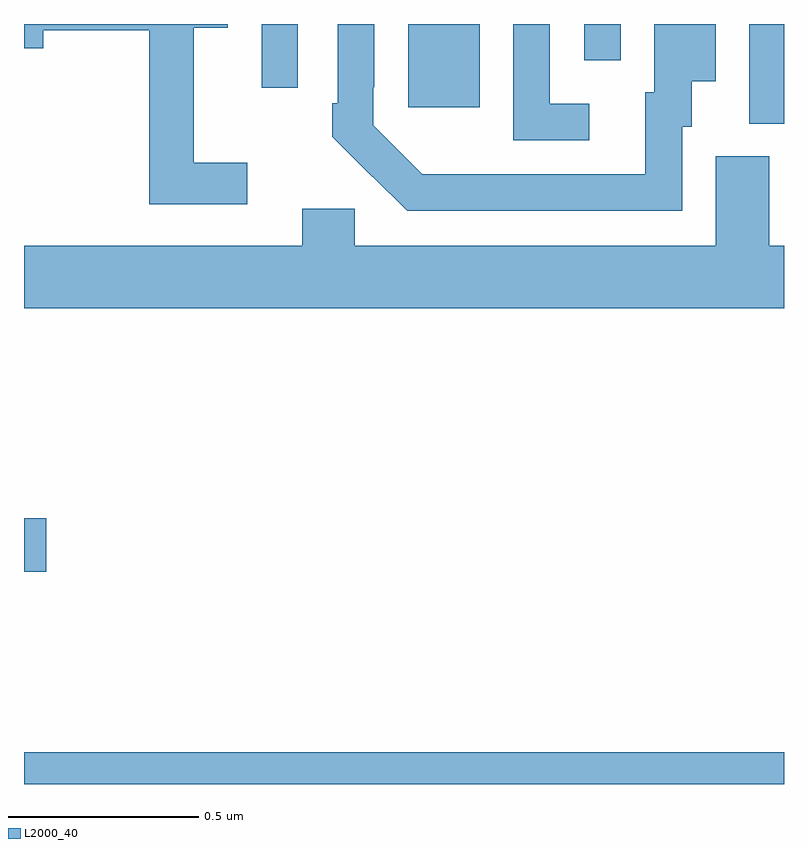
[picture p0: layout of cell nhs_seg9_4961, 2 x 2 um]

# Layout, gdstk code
import gdstk
lib = gdstk.Library(unit=1e-6, precision=1e-09)
def R(c, l, rs):  # rectangles x0, y0, x1, y1
    for r in rs: c.add(gdstk.rectangle(r[:2], r[2:], *l))
def P(c, l, *ps):  # polygons
    for p in ps: c.add(gdstk.Polygon(p, *l))
L2000_40 = (2000, 40)

nhs_seg9_4961 = lib.new_cell('nhs_seg9_4961')
R(nhs_seg9_4961, L2000_40, [(173,1196.5,175,1196.584), (173,1197.058,173.059,1197.2), (174.908,1198.237,175,1198.5), (174.011,1198.281,174.199,1198.5), (173.625,1198.332,173.721,1198.5), (174.474,1198.404,174.57,1198.5)])
P(nhs_seg9_4961, L2000_40, [(174.487,1198.29),(174.384,1198.29),(174.384,1198.5),(174.288,1198.5),(174.288,1198.194),(174.487,1198.194)],
  [(174.732,1198.23),(174.757,1198.23),(174.757,1198.349),(174.82,1198.349),(174.82,1198.5),(174.659,1198.5),(174.659,1198.32),(174.635,1198.32),(174.635,1198.104),(174.151,1198.104),(174.151,1198.105),(174.048,1198.105),(173.919,1198.233),(173.919,1198.333),(173.922,1198.333),(173.922,1198.5),(173.826,1198.5),(173.826,1198.291),(173.811,1198.291),(173.811,1198.203),(173.916,1198.098),(173.917,1198.099),(174.008,1198.008),(174.732,1198.008)],
  [(173.587,1198.135),(173.447,1198.135),(173.447,1198.49),(173.536,1198.49),(173.536,1198.5),(173,1198.5),(173,1198.436),(173.05,1198.436),(173.05,1198.483),(173.329,1198.483),(173.329,1198.026),(173.587,1198.026)],
  [(174.821,1198.152),(174.821,1197.916),(173.871,1197.916),(173.871,1198.014),(173.732,1198.014),(173.732,1197.916),(173,1197.916),(173,1197.752),(175,1197.752),(175,1197.916),(174.961,1197.916),(174.961,1198.152)])

lib.write_gds('nhs_seg9_4961.gds')
